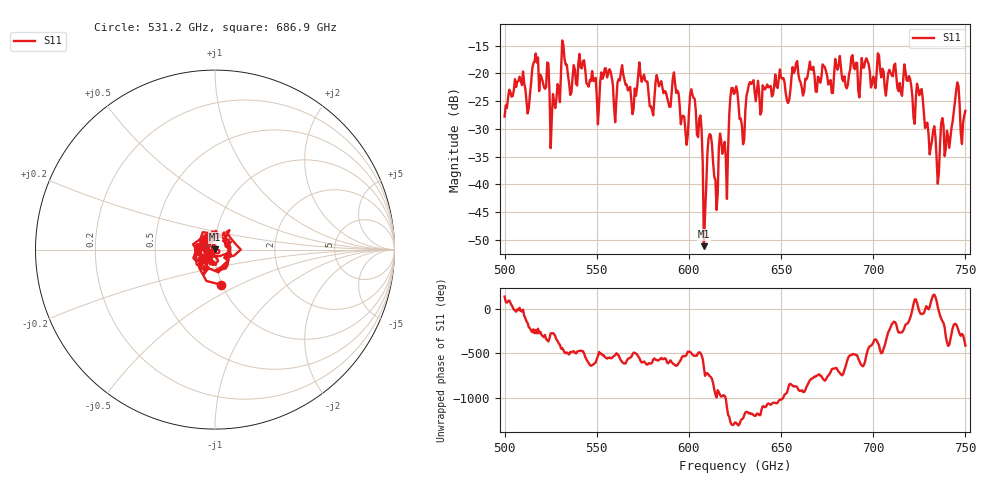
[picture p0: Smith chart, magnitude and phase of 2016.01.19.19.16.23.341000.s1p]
!Created with skrf (http://scikit-rf.org).
# GHz S RI R 50.0
!freq ReS11 ImS11
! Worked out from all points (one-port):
!   401 points, 500 GHz to 750 GHz, reference 50 ohm
!   lowest |S11| = -51.1 dB at 608.1 GHz (marker M1), VSWR 1.01, Z = 50.1 + j0.236 ohm
!   |S11| at or under -10 dB: start of sweep to end of sweep
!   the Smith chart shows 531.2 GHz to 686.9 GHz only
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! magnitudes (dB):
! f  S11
! 500 GHz  -27.8
! 508.8 GHz  -21.3
! 513.1 GHz  -26.2
! 516.9 GHz  -16.4
! 526.2 GHz  -23.7
! 531.2 GHz  -14.1
! 550 GHz  -24.0
! 562.5 GHz  -21.3
! 574.4 GHz  -21.5
! 580 GHz  -26.6
! 593.8 GHz  -23.1
! 598.1 GHz  -30.5
! 602.5 GHz  -24.4
! 606.2 GHz  -27.6
! 608.1 GHz  -51.1
! 611.2 GHz  -30.9
! 614.4 GHz  -39.2
! 617.5 GHz  -32.1
! 620 GHz  -35.1
! 625 GHz  -23.5
! 628.8 GHz  -29.3
! 633.8 GHz  -21.9
! 656.2 GHz  -18.9
! 687.5 GHz  -19.3
! 718.8 GHz  -21.4
! 735 GHz  -39.9
! 745 GHz  -23.1
! 750 GHz  -26.7
